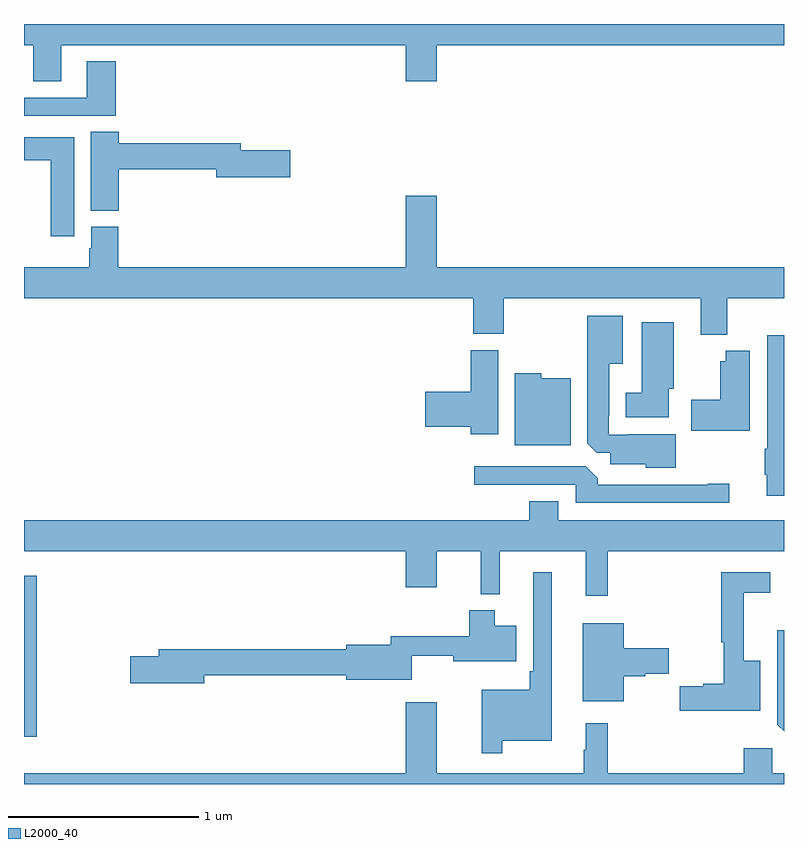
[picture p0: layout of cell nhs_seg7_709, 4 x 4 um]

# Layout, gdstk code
import gdstk
lib = gdstk.Library(unit=1e-6, precision=1e-09)
def R(c, l, rs):  # rectangles x0, y0, x1, y1
    for r in rs: c.add(gdstk.rectangle(r[:2], r[2:], *l))
def P(c, l, *ps):  # polygons
    for p in ps: c.add(gdstk.Polygon(p, *l))
L2000_40 = (2000, 40)

nhs_seg7_709 = lib.new_cell('nhs_seg7_709')
R(nhs_seg7_709, L2000_40, [(163,1058.25,163.067,1059.097)])
P(nhs_seg7_709, L2000_40, [(163.195,1061.888),(165.008,1061.888),(165.008,1061.7),(165.172,1061.7),(165.172,1061.888),(167,1061.888),(167,1062),(163,1062),(163,1061.888),(163.048,1061.888),(163.048,1061.698),(163.195,1061.698)],
  [(163.484,1061.803),(163.331,1061.803),(163.331,1061.613),(163,1061.613),(163,1061.517),(163.484,1061.517)],
  [(163.499,1061.236),(164.012,1061.236),(164.012,1061.194),(164.401,1061.194),(164.401,1061.336),(164.14,1061.336),(164.14,1061.372),(163.499,1061.372),(163.499,1061.432),(163.352,1061.432),(163.352,1061.017),(163.499,1061.017)],
  [(163.264,1061.404),(163,1061.404),(163,1061.282),(163.142,1061.282),(163.142,1060.884),(163.264,1060.884)],
  [(166.702,1060.556),(167,1060.556),(167,1060.72),(165.172,1060.72),(165.172,1061.095),(165.008,1061.095),(165.008,1060.72),(163.496,1060.72),(163.496,1060.932),(163.355,1060.932),(163.355,1060.821),(163.343,1060.821),(163.343,1060.72),(163,1060.72),(163,1060.556),(165.365,1060.556),(165.365,1060.369),(165.525,1060.369),(165.525,1060.556),(166.562,1060.556),(166.562,1060.364),(166.702,1060.364)],
  [(166.429,1059.841),(166.177,1059.841),(166.177,1059.837),(166.077,1059.837),(166.077,1059.937),(166.081,1059.937),(166.081,1060.211),(166.15,1060.211),(166.15,1060.465),(165.965,1060.465),(165.965,1059.793),(166.014,1059.744),(166.085,1059.744),(166.085,1059.683),(166.272,1059.683),(166.272,1059.665),(166.429,1059.665)],
  [(166.393,1060.08),(166.42,1060.08),(166.42,1060.429),(166.25,1060.429),(166.25,1060.06),(166.166,1060.06),(166.166,1059.929),(166.393,1059.929)],
  [(167,1060.363),(166.911,1060.363),(166.911,1059.764),(166.899,1059.764),(166.899,1059.628),(166.91,1059.628),(166.91,1059.516),(167,1059.516)],
  [(165.496,1060.284),(165.35,1060.284),(165.35,1060.064),(165.111,1060.064),(165.111,1059.881),(165.35,1059.881),(165.35,1059.84),(165.496,1059.84)],
  [(166.819,1060.279),(166.694,1060.279),(166.694,1060.225),(166.664,1060.225),(166.664,1060.023),(166.512,1060.023),(166.512,1059.86),(166.819,1059.86)],
  [(165.877,1060.135),(165.723,1060.135),(165.723,1060.162),(165.584,1060.162),(165.584,1059.782),(165.877,1059.782)],
  [(166.711,1059.581),(166.598,1059.581),(166.598,1059.576),(166.019,1059.576),(166.019,1059.61),(165.957,1059.672),(165.369,1059.672),(165.369,1059.576),(165.903,1059.576),(165.903,1059.48),(166.711,1059.48)],
  [(166.073,1059.224),(167,1059.224),(167,1059.388),(165.811,1059.388),(165.811,1059.487),(165.659,1059.487),(165.659,1059.388),(163,1059.388),(163,1059.224),(165.008,1059.224),(165.008,1059.036),(165.172,1059.036),(165.172,1059.224),(165.403,1059.224),(165.403,1058.999),(165.503,1058.999),(165.503,1059.224),(165.956,1059.224),(165.956,1058.991),(166.073,1058.991)],
  [(165.517,1058.228),(165.778,1058.228),(165.778,1059.115),(165.681,1059.115),(165.681,1058.593),(165.661,1058.593),(165.661,1058.497),(165.408,1058.497),(165.408,1058.163),(165.517,1058.163)],
  [(166.876,1058.65),(166.787,1058.65),(166.787,1059.006),(166.927,1059.006),(166.927,1059.114),(166.669,1059.114),(166.669,1058.746),(166.684,1058.746),(166.684,1058.528),(166.575,1058.528),(166.575,1058.515),(166.45,1058.515),(166.45,1058.386),(166.876,1058.386)],
  [(163.948,1058.572),(164.696,1058.572),(164.696,1058.549),(165.04,1058.549),(165.04,1058.674),(165.26,1058.674),(165.26,1058.645),(165.592,1058.645),(165.592,1058.833),(165.478,1058.833),(165.478,1058.914),(165.344,1058.914),(165.344,1058.777),(164.93,1058.777),(164.93,1058.732),(164.696,1058.732),(164.696,1058.708),(163.709,1058.708),(163.709,1058.672),(163.56,1058.672),(163.56,1058.53),(163.948,1058.53)],
  [(166.156,1058.567),(166.269,1058.567),(166.269,1058.579),(166.394,1058.579),(166.394,1058.714),(166.156,1058.714),(166.156,1058.845),(165.941,1058.845),(165.941,1058.435),(166.156,1058.435)],
  [(167,1058.809),(166.965,1058.809),(166.965,1058.313),(167,1058.278)],
  [(167,1058.056),(166.938,1058.056),(166.938,1058.188),(166.787,1058.188),(166.787,1058.056),(166.073,1058.056),(166.073,1058.32),(165.956,1058.32),(165.956,1058.18),(165.945,1058.18),(165.945,1058.056),(165.172,1058.056),(165.172,1058.431),(165.008,1058.431),(165.008,1058.056),(163,1058.056),(163,1058),(167,1058)])

lib.write_gds('nhs_seg7_709.gds')
